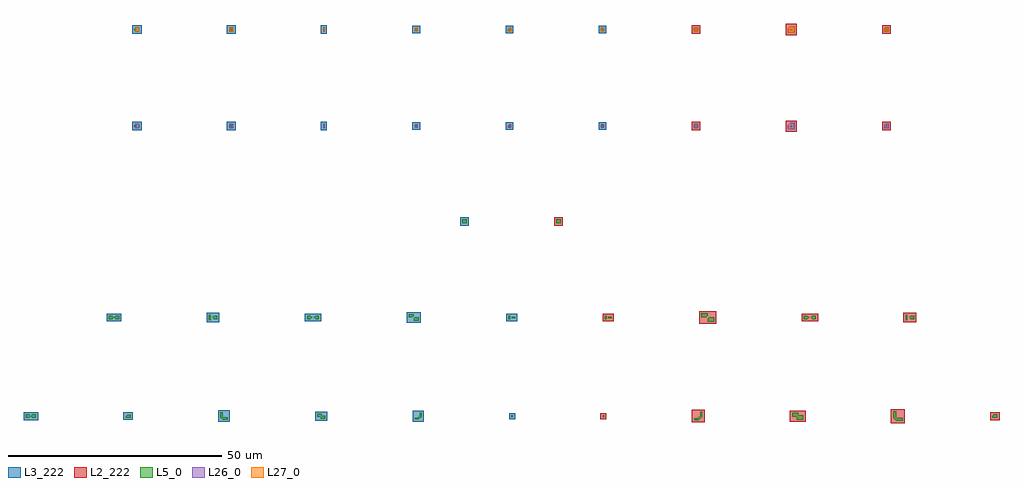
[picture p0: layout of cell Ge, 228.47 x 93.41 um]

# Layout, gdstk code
from math import pi, radians
import gdstk
lib = gdstk.Library(unit=1e-6, precision=1e-09)
def R(c, l, rs):  # rectangles x0, y0, x1, y1
    for r in rs: c.add(gdstk.rectangle(r[:2], r[2:], *l))
def P(c, l, *ps):  # polygons
    for p in ps: c.add(gdstk.Polygon(p, *l))
L2_222 = (2, 222)
L3_222 = (3, 222)
L5_0 = (5, 0)
L26_0 = (26, 0)
L27_0 = (27, 0)

compass_layerge_size0p4_ = lib.new_cell('compass_layerGE_size0p4__0p4')
R(compass_layerge_size0p4_, L5_0, [(-0.2,-0.2,0.2,0.2)])

rectangle_layerge_size0p = lib.new_cell('rectangle_layerGE_size0p4__0p4')
rectangle_layerge_size0p.add(gdstk.Reference(compass_layerge_size0p4_, (0.2,0.2)))

width_basic_width0_4_lay = lib.new_cell('width_basic_width0.4_layer_GE')
width_basic_width0_4_lay.add(gdstk.Reference(rectangle_layerge_size0p, (0,0)))

compass_abaa4390 = lib.new_cell('compass_abaa4390')
R(compass_abaa4390, L2_222, [(-0.7,-0.7,0.7,0.7)])

rectangle_abaa4390 = lib.new_cell('rectangle_abaa4390')
rectangle_abaa4390.add(gdstk.Reference(compass_abaa4390, (0.7,0.7)))

pass_fail_mk_233ae861 = lib.new_cell('pass_fail_mk_233ae861')
pass_fail_mk_233ae861.add(gdstk.Reference(rectangle_abaa4390, (-0.5,-0.5)))
pass_fail_mk_233ae861.add(gdstk.Label('GE.W.1', (-0.25,-0.25), layer=11, texttype=222))

compass_layerge_size0p39 = lib.new_cell('compass_layerGE_size0p39__0p39')
R(compass_layerge_size0p39, L5_0, [(-0.195,-0.195,0.195,0.195)])

c_rectangle_layerge_size0p = lib.new_cell('rectangle_layerGE_size0p39__0p39')
c_rectangle_layerge_size0p.add(gdstk.Reference(compass_layerge_size0p39, (0.195,0.195)))

width_basic_width0_39_la = lib.new_cell('width_basic_width0.39_layer_GE')
width_basic_width0_39_la.add(gdstk.Reference(c_rectangle_layerge_size0p, (0,0)))

compass_650bbf1b = lib.new_cell('compass_650bbf1b')
R(compass_650bbf1b, L3_222, [(-0.695,-0.695,0.695,0.695)])

rectangle_650bbf1b = lib.new_cell('rectangle_650bbf1b')
rectangle_650bbf1b.add(gdstk.Reference(compass_650bbf1b, (0.695,0.695)))

pass_fail_mk_1cde2b6c = lib.new_cell('pass_fail_mk_1cde2b6c')
pass_fail_mk_1cde2b6c.add(gdstk.Reference(rectangle_650bbf1b, (-0.5,-0.5)))
pass_fail_mk_1cde2b6c.add(gdstk.Label('GE.W.1', (-0.25,-0.25), layer=11, texttype=222))

extrude_e5152a84 = lib.new_cell('extrude_e5152a84')
P(extrude_e5152a84, L5_0, [(0,-0.25),(0,0.25),(0.896,0.25),(1.457,0.811),(1.457,1.707),(1.957,1.707),(1.957,0.604),(1.104,-0.25)])

width_45deg_width0_5_lay = lib.new_cell('width_45deg_width0.5_layer_GE')
width_45deg_width0_5_lay.add(gdstk.Reference(extrude_e5152a84, (0,0)))

compass_ff0f8aba = lib.new_cell('compass_ff0f8aba')
R(compass_ff0f8aba, L2_222, [(-1.478,-1.478,1.478,1.478)])

rectangle_ff0f8aba = lib.new_cell('rectangle_ff0f8aba')
rectangle_ff0f8aba.add(gdstk.Reference(compass_ff0f8aba, (1.478,1.478)))

pass_fail_mk_38d0dce6 = lib.new_cell('pass_fail_mk_38d0dce6')
pass_fail_mk_38d0dce6.add(gdstk.Reference(rectangle_ff0f8aba, (-0.5,-0.75)))
pass_fail_mk_38d0dce6.add(gdstk.Label('GE.W.1', (-0.25,-0.5), layer=11, texttype=222))

extrude_84ca7982 = lib.new_cell('extrude_84ca7982')
P(extrude_84ca7982, L5_0, [(0,-0.195),(0,0.195),(0.699,0.195),(1.137,0.632),(1.137,1.332),(1.527,1.332),(1.527,0.471),(0.861,-0.195)])

width_45deg_width0_39_la = lib.new_cell('width_45deg_width0.39_layer_GE')
width_45deg_width0_39_la.add(gdstk.Reference(extrude_84ca7982, (0,0)))

compass_373f1c06 = lib.new_cell('compass_373f1c06')
R(compass_373f1c06, L3_222, [(-1.264,-1.264,1.264,1.264)])

rectangle_373f1c06 = lib.new_cell('rectangle_373f1c06')
rectangle_373f1c06.add(gdstk.Reference(compass_373f1c06, (1.264,1.264)))

pass_fail_mk_971bee22 = lib.new_cell('pass_fail_mk_971bee22')
pass_fail_mk_971bee22.add(gdstk.Reference(rectangle_373f1c06, (-0.5,-0.695)))
pass_fail_mk_971bee22.add(gdstk.Label('GE.W.1', (-0.25,-0.446), layer=11, texttype=222))

boolean_fb724f76 = lib.new_cell('boolean_fb724f76')
P(boolean_fb724f76, L5_0, [(0,0),(0,0.646),(-1.146,0.646),(-1.146,1.646),(0.354,1.646),(0.354,1),(1.5,1),(1.5,0)])

width_cor2cor_width0_5_l = lib.new_cell('width_cor2cor_width0.5_layer_GE')
width_cor2cor_width0_5_l.add(gdstk.Reference(boolean_fb724f76, (0,0)))

compass_5aafb171 = lib.new_cell('compass_5aafb171')
R(compass_5aafb171, L2_222, [(-1.823,-1.323,1.823,1.323)])

rectangle_5aafb171 = lib.new_cell('rectangle_5aafb171')
rectangle_5aafb171.add(gdstk.Reference(compass_5aafb171, (1.823,1.323)))

pass_fail_mk_894c188b = lib.new_cell('pass_fail_mk_894c188b')
pass_fail_mk_894c188b.add(gdstk.Reference(rectangle_5aafb171, (-1.646,-0.5)))
pass_fail_mk_894c188b.add(gdstk.Label('GE.W.1', (-1.396,-0.25), layer=11, texttype=222))

boolean_46b64d44 = lib.new_cell('boolean_46b64d44')
P(boolean_46b64d44, L5_0, [(0,0),(0,0.452),(-0.802,0.452),(-0.802,1.153),(0.248,1.153),(0.248,0.7),(1.05,0.7),(1.05,0)])

width_cor2cor_width0_350 = lib.new_cell('width_cor2cor_width0.35000000000000003_layer_GE')
width_cor2cor_width0_350.add(gdstk.Reference(boolean_46b64d44, (0,0)))

compass_4df7383d = lib.new_cell('compass_4df7383d')
R(compass_4df7383d, L3_222, [(-1.426,-1.076,1.426,1.076)])

rectangle_4df7383d = lib.new_cell('rectangle_4df7383d')
rectangle_4df7383d.add(gdstk.Reference(compass_4df7383d, (1.426,1.076)))

pass_fail_mk_97dd24ef = lib.new_cell('pass_fail_mk_97dd24ef')
pass_fail_mk_97dd24ef.add(gdstk.Reference(rectangle_4df7383d, (-1.302,-0.5)))
pass_fail_mk_97dd24ef.add(gdstk.Label('GE.W.1', (-1.052,-0.25), layer=11, texttype=222))

boolean_c3d1b7d9 = lib.new_cell('boolean_c3d1b7d9')
P(boolean_c3d1b7d9, L5_0, [(-0.005,-0.708),(-0.708,-0.005),(-0.708,1.5),(0,1.5),(0,0),(1.5,0),(1.5,-0.708),(0,-0.708),(0,-0.708)])

width_cor_45deg_width0_5 = lib.new_cell('width_cor_45deg_width0.5_layer_GE')
width_cor_45deg_width0_5.add(gdstk.Reference(boolean_c3d1b7d9, (0,0)))

compass_24c9d74d = lib.new_cell('compass_24c9d74d')
R(compass_24c9d74d, L2_222, [(-1.604,-1.604,1.604,1.604)])

rectangle_24c9d74d = lib.new_cell('rectangle_24c9d74d')
rectangle_24c9d74d.add(gdstk.Reference(compass_24c9d74d, (1.604,1.604)))

pass_fail_mk_901aa33e = lib.new_cell('pass_fail_mk_901aa33e')
pass_fail_mk_901aa33e.add(gdstk.Reference(rectangle_24c9d74d, (-1.208,-1.208)))
pass_fail_mk_901aa33e.add(gdstk.Label('GE.W.1', (-0.958,-0.958), layer=11, texttype=222))

boolean_c17401a6 = lib.new_cell('boolean_c17401a6')
P(boolean_c17401a6, L5_0, [(0,-0.552),(0,-0.551),(-0.004,-0.551),(-0.551,-0.004),(-0.551,1.17),(0,1.17),(0,0),(1.17,0),(1.17,-0.552)])

width_cor_45deg_width0_3 = lib.new_cell('width_cor_45deg_width0.39_layer_GE')
width_cor_45deg_width0_3.add(gdstk.Reference(boolean_c17401a6, (0,0)))

compass_422bfea1 = lib.new_cell('compass_422bfea1')
R(compass_422bfea1, L3_222, [(-1.361,-1.361,1.361,1.361)])

rectangle_422bfea1 = lib.new_cell('rectangle_422bfea1')
rectangle_422bfea1.add(gdstk.Reference(compass_422bfea1, (1.361,1.361)))

pass_fail_mk_dcfc9e4e = lib.new_cell('pass_fail_mk_dcfc9e4e')
pass_fail_mk_dcfc9e4e.add(gdstk.Reference(rectangle_422bfea1, (-1.052,-1.052)))
pass_fail_mk_dcfc9e4e.add(gdstk.Label('GE.W.1', (-0.802,-0.802), layer=11, texttype=222))

boolean_9537aae0 = lib.new_cell('boolean_9537aae0')
P(boolean_9537aae0, L5_0, [(0,0),(0,0.4),(0.4,0.8),(1.2,0.8),(1.2,0)])

width_cor_45deg_width0_4 = lib.new_cell('width_cor_45deg_width0.4_layer_GE')
width_cor_45deg_width0_4.add(gdstk.Reference(boolean_9537aae0, (0,0)))

compass_cb87cfef = lib.new_cell('compass_cb87cfef')
R(compass_cb87cfef, L2_222, [(-1.1,-0.9,1.1,0.9)])

rectangle_cb87cfef = lib.new_cell('rectangle_cb87cfef')
rectangle_cb87cfef.add(gdstk.Reference(compass_cb87cfef, (1.1,0.9)))

pass_fail_mk_8b456b06 = lib.new_cell('pass_fail_mk_8b456b06')
pass_fail_mk_8b456b06.add(gdstk.Reference(rectangle_cb87cfef, (-0.5,-0.5)))
pass_fail_mk_8b456b06.add(gdstk.Label('GE.W.1', (-0.25,-0.25), layer=11, texttype=222))

boolean_08bdff1a = lib.new_cell('boolean_08bdff1a')
P(boolean_08bdff1a, L5_0, [(0,0),(0,0.39),(0.39,0.78),(1.17,0.78),(1.17,0)])

c_width_cor_45deg_width0_3 = lib.new_cell('width_cor_45deg_width0.39_layer_GE$1')
c_width_cor_45deg_width0_3.add(gdstk.Reference(boolean_08bdff1a, (0,0)))

compass_3b45272a = lib.new_cell('compass_3b45272a')
R(compass_3b45272a, L3_222, [(-1.085,-0.89,1.085,0.89)])

rectangle_3b45272a = lib.new_cell('rectangle_3b45272a')
rectangle_3b45272a.add(gdstk.Reference(compass_3b45272a, (1.085,0.89)))

pass_fail_mk_ed9fac50 = lib.new_cell('pass_fail_mk_ed9fac50')
pass_fail_mk_ed9fac50.add(gdstk.Reference(rectangle_3b45272a, (-0.5,-0.5)))
pass_fail_mk_ed9fac50.add(gdstk.Label('GE.W.1', (-0.25,-0.25), layer=11, texttype=222))

boolean_e46a8f88 = lib.new_cell('boolean_e46a8f88')
P(boolean_e46a8f88, L5_0, [(0,0),(0,0),(-0.4,0.4),(0,0.8),(0,0.8),(0.8,0.8),(0.8,0)])

width_singular_width0_4_ = lib.new_cell('width_singular_width0.4_layer_GE')
width_singular_width0_4_.add(gdstk.Reference(boolean_e46a8f88, (0,0)))
width_singular_width0_4_.add(gdstk.Reference(boolean_e46a8f88, (-0.8,0.8), rotation=pi))

compass_b6777283 = lib.new_cell('compass_b6777283')
R(compass_b6777283, L3_222, [(-1.7,-0.9,1.7,0.9)])

rectangle_b6777283 = lib.new_cell('rectangle_b6777283')
rectangle_b6777283.add(gdstk.Reference(compass_b6777283, (1.7,0.9)))

pass_fail_mk_0a5d514c = lib.new_cell('pass_fail_mk_0a5d514c')
pass_fail_mk_0a5d514c.add(gdstk.Reference(rectangle_b6777283, (-2.1,-0.5)))
pass_fail_mk_0a5d514c.add(gdstk.Label('GE.W.1', (-1.85,-0.25), layer=11, texttype=222))

width_patterns_width0_4_ = lib.new_cell('width_patterns_width0.4_layerGE')
width_patterns_width0_4_.add(gdstk.Reference(width_basic_width0_4_lay, (0,0)))
width_patterns_width0_4_.add(gdstk.Reference(pass_fail_mk_233ae861, (0,0)))
width_patterns_width0_4_.add(gdstk.Reference(width_basic_width0_39_la, (-21.39,0.005)))
width_patterns_width0_4_.add(gdstk.Reference(pass_fail_mk_1cde2b6c, (-21.39,0.005)))
width_patterns_width0_4_.add(gdstk.Reference(width_45deg_width0_5_lay, (21.399,-0.529)))
width_patterns_width0_4_.add(gdstk.Reference(pass_fail_mk_38d0dce6, (21.4,-0.528)))
width_patterns_width0_4_.add(gdstk.Reference(width_45deg_width0_39_la, (-43.917,-0.369)))
width_patterns_width0_4_.add(gdstk.Reference(pass_fail_mk_971bee22, (-43.918,-0.368)))
width_patterns_width0_4_.add(gdstk.Reference(width_cor2cor_width0_5_l, (45.502,-0.623)))
width_patterns_width0_4_.add(gdstk.Reference(pass_fail_mk_894c188b, (45.502,-0.623)))
width_patterns_width0_4_.add(gdstk.Reference(width_cor2cor_width0_350, (-65.968,-0.376)))
width_patterns_width0_4_.add(gdstk.Reference(pass_fail_mk_97dd24ef, (-65.968,-0.376)))
width_patterns_width0_4_.add(gdstk.Reference(width_cor_45deg_width0_5, (68.71,-0.196)))
width_patterns_width0_4_.add(gdstk.Reference(pass_fail_mk_901aa33e, (68.71,-0.196)))
width_patterns_width0_4_.add(gdstk.Reference(width_cor_45deg_width0_3, (-88.94,-0.109)))
width_patterns_width0_4_.add(gdstk.Reference(pass_fail_mk_dcfc9e4e, (-88.94,-0.109)))
width_patterns_width0_4_.add(gdstk.Reference(width_cor_45deg_width0_4, (91.21,-0.2)))
width_patterns_width0_4_.add(gdstk.Reference(pass_fail_mk_8b456b06, (91.21,-0.2)))
width_patterns_width0_4_.add(gdstk.Reference(c_width_cor_45deg_width0_3, (-111.662,-0.19)))
width_patterns_width0_4_.add(gdstk.Reference(pass_fail_mk_ed9fac50, (-111.662,-0.19)))
width_patterns_width0_4_.add(gdstk.Reference(width_singular_width0_4_, (-133.462,-0.2)))
width_patterns_width0_4_.add(gdstk.Reference(pass_fail_mk_0a5d514c, (-133.462,-0.2)))

c_compass_layerge_size0p4_ = lib.new_cell('compass_layerGE_size0p4__0p8')
R(c_compass_layerge_size0p4_, L5_0, [(-0.2,-0.4,0.2,0.4)])

c_rectangle_layerge_size0p_ = lib.new_cell('rectangle_layerGE_size0p4__0p8')
c_rectangle_layerge_size0p_.add(gdstk.Reference(c_compass_layerge_size0p4_, (0.2,0.4)))

compass_layerge_size0p8_ = lib.new_cell('compass_layerGE_size0p8__0p4')
R(compass_layerge_size0p8_, L5_0, [(-0.4,-0.2,0.4,0.2)])

c_rectangle_layerge_size0p__ = lib.new_cell('rectangle_layerGE_size0p8__0p4')
c_rectangle_layerge_size0p__.add(gdstk.Reference(compass_layerge_size0p8_, (0.4,0.2)))

space_basic_spacing0_4_l = lib.new_cell('space_basic_spacing0.4_layer1GE_layer2GE')
space_basic_spacing0_4_l.add(gdstk.Reference(c_rectangle_layerge_size0p_, (-0.4,0.6), rotation=pi))
space_basic_spacing0_4_l.add(gdstk.Reference(c_rectangle_layerge_size0p__, (0,0)))

compass_0661bdc1 = lib.new_cell('compass_0661bdc1')
R(compass_0661bdc1, L2_222, [(-1.3,-0.9,1.3,0.9)])

rectangle_0661bdc1 = lib.new_cell('rectangle_0661bdc1')
rectangle_0661bdc1.add(gdstk.Reference(compass_0661bdc1, (1.3,0.9)))

pass_fail_mk_46b68487 = lib.new_cell('pass_fail_mk_46b68487')
pass_fail_mk_46b68487.add(gdstk.Reference(rectangle_0661bdc1, (-1.3,-0.7)))
pass_fail_mk_46b68487.add(gdstk.Label('GE.S.1', (-1.05,-0.45), layer=11, texttype=222))

space_basic_spacing0_39_ = lib.new_cell('space_basic_spacing0.39_layer1GE_layer2GE')
space_basic_spacing0_39_.add(gdstk.Reference(c_rectangle_layerge_size0p_, (-0.39,0.6), rotation=pi))
space_basic_spacing0_39_.add(gdstk.Reference(c_rectangle_layerge_size0p__, (0,0)))

compass_d3ea01bc = lib.new_cell('compass_d3ea01bc')
R(compass_d3ea01bc, L3_222, [(-1.295,-0.9,1.295,0.9)])

rectangle_d3ea01bc = lib.new_cell('rectangle_d3ea01bc')
rectangle_d3ea01bc.add(gdstk.Reference(compass_d3ea01bc, (1.295,0.9)))

pass_fail_mk_e88df47e = lib.new_cell('pass_fail_mk_e88df47e')
pass_fail_mk_e88df47e.add(gdstk.Reference(rectangle_d3ea01bc, (-1.29,-0.7)))
pass_fail_mk_e88df47e.add(gdstk.Label('GE.S.1', (-1.04,-0.45), layer=11, texttype=222))

boolean_9f916d28 = lib.new_cell('boolean_9f916d28')
P(boolean_9f916d28, L5_0, [(0,0),(0,0.645),(0.355,1),(1.5,1),(1.5,0)])

space_45deg_spacing0_5_l = lib.new_cell('space_45deg_spacing0.5_layer1GE_layer2GE')
space_45deg_spacing0_5_l.add(gdstk.Reference(boolean_9f916d28, (0,0)))
space_45deg_spacing0_5_l.add(gdstk.Reference(boolean_9f916d28, (0,2), rotation=pi))

compass_00dc3164 = lib.new_cell('compass_00dc3164')
R(compass_00dc3164, L2_222, [(-2,-1.5,2,1.5)])

rectangle_00dc3164 = lib.new_cell('rectangle_00dc3164')
rectangle_00dc3164.add(gdstk.Reference(compass_00dc3164, (2,1.5)))

pass_fail_mk_42083cc7 = lib.new_cell('pass_fail_mk_42083cc7')
pass_fail_mk_42083cc7.add(gdstk.Reference(rectangle_00dc3164, (-2,-0.5)))
pass_fail_mk_42083cc7.add(gdstk.Label('GE.S.1', (-1.75,-0.25), layer=11, texttype=222))

boolean_9b403b2c = lib.new_cell('boolean_9b403b2c')
P(boolean_9b403b2c, L5_0, [(0,0),(0,0.503),(0.277,0.78),(1.17,0.78),(1.17,0)])

space_45deg_spacing0_39_ = lib.new_cell('space_45deg_spacing0.39_layer1GE_layer2GE')
space_45deg_spacing0_39_.add(gdstk.Reference(boolean_9b403b2c, (0,0)))
space_45deg_spacing0_39_.add(gdstk.Reference(boolean_9b403b2c, (0,1.56), rotation=pi))

compass_60910a99 = lib.new_cell('compass_60910a99')
R(compass_60910a99, L3_222, [(-1.67,-1.28,1.67,1.28)])

rectangle_60910a99 = lib.new_cell('rectangle_60910a99')
rectangle_60910a99.add(gdstk.Reference(compass_60910a99, (1.67,1.28)))

pass_fail_mk_ed316ea7 = lib.new_cell('pass_fail_mk_ed316ea7')
pass_fail_mk_ed316ea7.add(gdstk.Reference(rectangle_60910a99, (-1.67,-0.5)))
pass_fail_mk_ed316ea7.add(gdstk.Label('GE.S.1', (-1.42,-0.25), layer=11, texttype=222))

boolean_72ef2a4f = lib.new_cell('boolean_72ef2a4f')
P(boolean_72ef2a4f, L5_0, [(0,0),(0,0),(-0.4,0.4),(0,0.8),(0,0.8),(0.8,0.8),(0.8,0)])

space_cor2cor_spacing0_4 = lib.new_cell('space_cor2cor_spacing0.4_layer1GE_layer2GE')
space_cor2cor_spacing0_4.add(gdstk.Reference(boolean_e46a8f88, (0,0)))
space_cor2cor_spacing0_4.add(gdstk.Reference(boolean_72ef2a4f, (-1.2,0.8), rotation=pi))

compass_b5ef008f = lib.new_cell('compass_b5ef008f')
R(compass_b5ef008f, L2_222, [(-1.9,-0.9,1.9,0.9)])

rectangle_b5ef008f = lib.new_cell('rectangle_b5ef008f')
rectangle_b5ef008f.add(gdstk.Reference(compass_b5ef008f, (1.9,0.9)))

pass_fail_mk_fc9968ee = lib.new_cell('pass_fail_mk_fc9968ee')
pass_fail_mk_fc9968ee.add(gdstk.Reference(rectangle_b5ef008f, (-2.5,-0.5)))
pass_fail_mk_fc9968ee.add(gdstk.Label('GE.S.1', (-2.25,-0.25), layer=11, texttype=222))

space_cor2cor_spacing0_3 = lib.new_cell('space_cor2cor_spacing0.39_layer1GE_layer2GE')
space_cor2cor_spacing0_3.add(gdstk.Reference(boolean_e46a8f88, (0,0)))
space_cor2cor_spacing0_3.add(gdstk.Reference(boolean_72ef2a4f, (-1.19,0.8), rotation=pi))

compass_1faf0ee8 = lib.new_cell('compass_1faf0ee8')
R(compass_1faf0ee8, L3_222, [(-1.895,-0.9,1.895,0.9)])

rectangle_1faf0ee8 = lib.new_cell('rectangle_1faf0ee8')
rectangle_1faf0ee8.add(gdstk.Reference(compass_1faf0ee8, (1.895,0.9)))

pass_fail_mk_e8e4f772 = lib.new_cell('pass_fail_mk_e8e4f772')
pass_fail_mk_e8e4f772.add(gdstk.Reference(rectangle_1faf0ee8, (-2.49,-0.5)))
pass_fail_mk_e8e4f772.add(gdstk.Label('GE.S.1', (-2.24,-0.25), layer=11, texttype=222))

c_compass_layerge_size0p4__ = lib.new_cell('compass_layerGE_size0p4__1p2')
R(c_compass_layerge_size0p4__, L5_0, [(-0.2,-0.6,0.2,0.6)])

c_rectangle_layerge_size0p___ = lib.new_cell('rectangle_layerGE_size0p4__1p2')
c_rectangle_layerge_size0p___.add(gdstk.Reference(c_compass_layerge_size0p4__, (0.2,0.6)))

space_cor2edge_spacing0_ = lib.new_cell('space_cor2edge_spacing0.4_layer1GE_layer2GE')
space_cor2edge_spacing0_.add(gdstk.Reference(c_rectangle_layerge_size0p___, (-1.2,-0.2)))
space_cor2edge_spacing0_.add(gdstk.Reference(boolean_e46a8f88, (0,0)))

compass_ef9a3369 = lib.new_cell('compass_ef9a3369')
R(compass_ef9a3369, L2_222, [(-1.5,-1.1,1.5,1.1)])

rectangle_ef9a3369 = lib.new_cell('rectangle_ef9a3369')
rectangle_ef9a3369.add(gdstk.Reference(compass_ef9a3369, (1.5,1.1)))

pass_fail_mk_8e20f3fb = lib.new_cell('pass_fail_mk_8e20f3fb')
pass_fail_mk_8e20f3fb.add(gdstk.Reference(rectangle_ef9a3369, (-1.7,-0.7)))
pass_fail_mk_8e20f3fb.add(gdstk.Label('GE.S.1', (-1.45,-0.45), layer=11, texttype=222))

c_space_cor2edge_spacing0_ = lib.new_cell('space_cor2edge_spacing0.39_layer1GE_layer2GE')
c_space_cor2edge_spacing0_.add(gdstk.Reference(c_rectangle_layerge_size0p___, (-1.19,-0.2)))
c_space_cor2edge_spacing0_.add(gdstk.Reference(boolean_e46a8f88, (0,0)))

compass_b10f19f7 = lib.new_cell('compass_b10f19f7')
R(compass_b10f19f7, L3_222, [(-1.495,-1.1,1.495,1.1)])

rectangle_b10f19f7 = lib.new_cell('rectangle_b10f19f7')
rectangle_b10f19f7.add(gdstk.Reference(compass_b10f19f7, (1.495,1.1)))

pass_fail_mk_1487bcf8 = lib.new_cell('pass_fail_mk_1487bcf8')
pass_fail_mk_1487bcf8.add(gdstk.Reference(rectangle_b10f19f7, (-1.69,-0.7)))
pass_fail_mk_1487bcf8.add(gdstk.Label('GE.S.1', (-1.44,-0.45), layer=11, texttype=222))

space_singular_layer1ge_ = lib.new_cell('space_singular_layer1GE_layer2GE')
space_singular_layer1ge_.add(gdstk.Reference(boolean_e46a8f88, (0,0)))
space_singular_layer1ge_.add(gdstk.Reference(boolean_e46a8f88, (-0.8,0.8), rotation=pi))

pass_fail_mk_7fce521f = lib.new_cell('pass_fail_mk_7fce521f')
pass_fail_mk_7fce521f.add(gdstk.Reference(rectangle_b6777283, (-2.1,-0.5)))
pass_fail_mk_7fce521f.add(gdstk.Label('GE.S.1', (-1.85,-0.25), layer=11, texttype=222))

space_patterns_width0_4_ = lib.new_cell('space_patterns_width0.4_layer1GE_layer2GE')
space_patterns_width0_4_.add(gdstk.Reference(space_basic_spacing0_4_l, (0,0)))
space_patterns_width0_4_.add(gdstk.Reference(pass_fail_mk_46b68487, (0,0)))
space_patterns_width0_4_.add(gdstk.Reference(space_basic_spacing0_39_, (-22.6,0)))
space_patterns_width0_4_.add(gdstk.Reference(pass_fail_mk_e88df47e, (-22.6,0)))
space_patterns_width0_4_.add(gdstk.Reference(space_45deg_spacing0_5_l, (23.3,-0.8)))
space_patterns_width0_4_.add(gdstk.Reference(pass_fail_mk_42083cc7, (23.3,-0.8)))
space_patterns_width0_4_.add(gdstk.Reference(space_45deg_spacing0_39_, (-45.56,-0.58)))
space_patterns_width0_4_.add(gdstk.Reference(pass_fail_mk_ed316ea7, (-45.56,-0.58)))
space_patterns_width0_4_.add(gdstk.Reference(space_cor2cor_spacing0_4, (47.8,-0.2)))
space_patterns_width0_4_.add(gdstk.Reference(pass_fail_mk_fc9968ee, (47.8,-0.2)))
space_patterns_width0_4_.add(gdstk.Reference(space_cor2cor_spacing0_3, (-68.53,-0.2)))
space_patterns_width0_4_.add(gdstk.Reference(pass_fail_mk_e8e4f772, (-68.53,-0.2)))
space_patterns_width0_4_.add(gdstk.Reference(space_cor2edge_spacing0_, (70.8,-0.2)))
space_patterns_width0_4_.add(gdstk.Reference(pass_fail_mk_8e20f3fb, (70.8,-0.2)))
space_patterns_width0_4_.add(gdstk.Reference(c_space_cor2edge_spacing0_, (-92.32,-0.2)))
space_patterns_width0_4_.add(gdstk.Reference(pass_fail_mk_1487bcf8, (-92.32,-0.2)))
space_patterns_width0_4_.add(gdstk.Reference(space_singular_layer1ge_, (-115.31,-0.2)))
space_patterns_width0_4_.add(gdstk.Reference(pass_fail_mk_7fce521f, (-115.31,-0.2)))

compass_layerge_size1p00 = lib.new_cell('compass_layerGE_size1p005__1p005')
R(compass_layerge_size1p00, L5_0, [(-0.502,-0.502,0.502,0.502)])

rectangle_layerge_size1p = lib.new_cell('rectangle_layerGE_size1p005__1p005')
rectangle_layerge_size1p.add(gdstk.Reference(compass_layerge_size1p00, (0.502,0.502)))

area_basic_area1_01_laye = lib.new_cell('area_basic_area1.01_layerGE')
area_basic_area1_01_laye.add(gdstk.Reference(rectangle_layerge_size1p, (0,0)))

compass_880567ed = lib.new_cell('compass_880567ed')
R(compass_880567ed, L2_222, [(-1.002,-1.002,1.002,1.002)])

rectangle_880567ed = lib.new_cell('rectangle_880567ed')
rectangle_880567ed.add(gdstk.Reference(compass_880567ed, (1.002,1.002)))

pass_fail_mk_3f8f06d5 = lib.new_cell('pass_fail_mk_3f8f06d5')
pass_fail_mk_3f8f06d5.add(gdstk.Reference(rectangle_880567ed, (-0.5,-0.5)))
pass_fail_mk_3f8f06d5.add(gdstk.Label('GE.A.1', (-0.25,-0.25), layer=11, texttype=222))

compass_layerge_size0p99 = lib.new_cell('compass_layerGE_size0p999__0p999')
R(compass_layerge_size0p99, L5_0, [(-0.5,-0.5,0.5,0.5)])

c_rectangle_layerge_size0p____ = lib.new_cell('rectangle_layerGE_size0p999__0p999')
c_rectangle_layerge_size0p____.add(gdstk.Reference(compass_layerge_size0p99, (0.499,0.499)))

area_basic_area0_999_lay = lib.new_cell('area_basic_area0.999_layerGE')
area_basic_area0_999_lay.add(gdstk.Reference(c_rectangle_layerge_size0p____, (0,0)))

compass_7507b2fe = lib.new_cell('compass_7507b2fe')
R(compass_7507b2fe, L3_222, [(-1,-1,1,1)])

rectangle_7507b2fe = lib.new_cell('rectangle_7507b2fe')
rectangle_7507b2fe.add(gdstk.Reference(compass_7507b2fe, (1,1)))

pass_fail_mk_89436fce = lib.new_cell('pass_fail_mk_89436fce')
pass_fail_mk_89436fce.add(gdstk.Reference(rectangle_7507b2fe, (-0.501,-0.501)))
pass_fail_mk_89436fce.add(gdstk.Label('GE.A.1', (-0.251,-0.251), layer=11, texttype=222))

area_patterns_area1_0_la = lib.new_cell('area_patterns_area1.0_layerGE')
area_patterns_area1_0_la.add(gdstk.Reference(area_basic_area1_01_laye, (0,0)))
area_patterns_area1_0_la.add(gdstk.Reference(pass_fail_mk_3f8f06d5, (0,0)))
area_patterns_area1_0_la.add(gdstk.Reference(area_basic_area0_999_lay, (-21.998,0.003)))
area_patterns_area1_0_la.add(gdstk.Reference(pass_fail_mk_89436fce, (-21.999,0.003)))

compass_layergen_size1p0 = lib.new_cell('compass_layerGEN_size1p0__1p0')
R(compass_layergen_size1p0, L26_0, [(-0.5,-0.5,0.5,0.5)])

rectangle_layergen_size1 = lib.new_cell('rectangle_layerGEN_size1p0__1p0')
rectangle_layergen_size1.add(gdstk.Reference(compass_layergen_size1p0, (0.5,0.5)))

enclose_basic_enc0_3_wid = lib.new_cell('enclose_basic_enc0.3_width0.4_layer_GE_enc_layerGEN')
enclose_basic_enc0_3_wid.add(gdstk.Reference(rectangle_layerge_size0p, (0,0)))
enclose_basic_enc0_3_wid.add(gdstk.Reference(rectangle_layergen_size1, (-0.3,-0.3)))

compass_20d580df = lib.new_cell('compass_20d580df')
R(compass_20d580df, L2_222, [(-1,-1,1,1)])

rectangle_20d580df = lib.new_cell('rectangle_20d580df')
rectangle_20d580df.add(gdstk.Reference(compass_20d580df, (1,1)))

pass_fail_mk_fe304c9f = lib.new_cell('pass_fail_mk_fe304c9f')
pass_fail_mk_fe304c9f.add(gdstk.Reference(rectangle_20d580df, (-0.8,-0.8)))
pass_fail_mk_fe304c9f.add(gdstk.Label('GE.EN.1', (-0.55,-0.55), layer=11, texttype=222))

compass_layergen_size0p8 = lib.new_cell('compass_layerGEN_size0p8__0p8')
R(compass_layergen_size0p8, L26_0, [(-0.4,-0.4,0.4,0.4)])

rectangle_layergen_size0 = lib.new_cell('rectangle_layerGEN_size0p8__0p8')
rectangle_layergen_size0.add(gdstk.Reference(compass_layergen_size0p8, (0.4,0.4)))

enclose_basic_enc0_19999 = lib.new_cell('enclose_basic_enc0.19999999999999998_width0.4_layer_GE_enc_layerGEN')
enclose_basic_enc0_19999.add(gdstk.Reference(rectangle_layerge_size0p, (0,0)))
enclose_basic_enc0_19999.add(gdstk.Reference(rectangle_layergen_size0, (-0.2,-0.2)))

compass_e46339c4 = lib.new_cell('compass_e46339c4')
R(compass_e46339c4, L3_222, [(-0.9,-0.9,0.9,0.9)])

rectangle_e46339c4 = lib.new_cell('rectangle_e46339c4')
rectangle_e46339c4.add(gdstk.Reference(compass_e46339c4, (0.9,0.9)))

pass_fail_mk_4e16b8d1 = lib.new_cell('pass_fail_mk_4e16b8d1')
pass_fail_mk_4e16b8d1.add(gdstk.Reference(rectangle_e46339c4, (-0.7,-0.7)))
pass_fail_mk_4e16b8d1.add(gdstk.Label('GE.EN.1', (-0.45,-0.45), layer=11, texttype=222))

boolean_d471c5e5 = lib.new_cell('boolean_d471c5e5')
P(boolean_d471c5e5, L5_0, [(0,0),(0,0.259),(0.141,0.4),(0.4,0.4),(0.4,0)])

boolean_d11883be = lib.new_cell('boolean_d11883be')
P(boolean_d11883be, L26_0, [(-0.6,-0.6),(-0.6,0.412),(-0.012,1),(1,1),(1,-0.6)])

enclose_45deg_enc0_6_wid = lib.new_cell('enclose_45deg_enc0.6_width0.4_layer_GE_enc_layerGEN')
enclose_45deg_enc0_6_wid.add(gdstk.Reference(boolean_d471c5e5, (0,0)))
enclose_45deg_enc0_6_wid.add(gdstk.Reference(boolean_d11883be, (0,0)))

compass_b90d489f = lib.new_cell('compass_b90d489f')
R(compass_b90d489f, L2_222, [(-1.3,-1.3,1.3,1.3)])

rectangle_b90d489f = lib.new_cell('rectangle_b90d489f')
rectangle_b90d489f.add(gdstk.Reference(compass_b90d489f, (1.3,1.3)))

pass_fail_mk_999a6ecb = lib.new_cell('pass_fail_mk_999a6ecb')
pass_fail_mk_999a6ecb.add(gdstk.Reference(rectangle_b90d489f, (-1.1,-1.1)))
pass_fail_mk_999a6ecb.add(gdstk.Label('GE.EN.1', (-0.85,-0.85), layer=11, texttype=222))

boolean_e9c50360 = lib.new_cell('boolean_e9c50360')
P(boolean_e9c50360, L26_0, [(-0.2,-0.2),(-0.2,0.271),(0.129,0.6),(0.6,0.6),(0.6,-0.2)])

enclose_45deg_enc0_19999 = lib.new_cell('enclose_45deg_enc0.19999999999999998_width0.4_layer_GE_enc_layerGEN')
enclose_45deg_enc0_19999.add(gdstk.Reference(boolean_d471c5e5, (0,0)))
enclose_45deg_enc0_19999.add(gdstk.Reference(boolean_e9c50360, (0,0)))

pass_fail_mk_7963daef = lib.new_cell('pass_fail_mk_7963daef')
pass_fail_mk_7963daef.add(gdstk.Reference(rectangle_e46339c4, (-0.7,-0.7)))
pass_fail_mk_7963daef.add(gdstk.Label('GE.EN.1', (-0.45,-0.45), layer=11, texttype=222))

boolean_9b084751 = lib.new_cell('boolean_9b084751')
P(boolean_9b084751, L26_0, [(-0.3,-0.3),(-0.3,0.527),(-0.127,0.7),(0.7,0.7),(0.7,-0.3)])

enclose_cor2edge_enc0_3_ = lib.new_cell('enclose_cor2edge_enc0.3_width0.4_layer_GE_enc_layerGEN')
enclose_cor2edge_enc0_3_.add(gdstk.Reference(rectangle_layerge_size0p, (0,0)))
enclose_cor2edge_enc0_3_.add(gdstk.Reference(boolean_9b084751, (0,0)))

pass_fail_mk_649fa9fe = lib.new_cell('pass_fail_mk_649fa9fe')
pass_fail_mk_649fa9fe.add(gdstk.Reference(rectangle_20d580df, (-0.8,-0.8)))
pass_fail_mk_649fa9fe.add(gdstk.Label('GE.EN.1', (-0.55,-0.55), layer=11, texttype=222))

boolean_0c227648 = lib.new_cell('boolean_0c227648')
P(boolean_0c227648, L26_0, [(-0.2,-0.2),(-0.2,0.485),(-0.085,0.6),(0.6,0.6),(0.6,-0.2)])

enclose_cor2edge_enc0_19 = lib.new_cell('enclose_cor2edge_enc0.19999999999999998_width0.4_layer_GE_enc_layerGEN')
enclose_cor2edge_enc0_19.add(gdstk.Reference(rectangle_layerge_size0p, (0,0)))
enclose_cor2edge_enc0_19.add(gdstk.Reference(boolean_0c227648, (0,0)))

pass_fail_mk_3c4c30eb = lib.new_cell('pass_fail_mk_3c4c30eb')
pass_fail_mk_3c4c30eb.add(gdstk.Reference(rectangle_e46339c4, (-0.7,-0.7)))
pass_fail_mk_3c4c30eb.add(gdstk.Label('GE.EN.1', (-0.45,-0.45), layer=11, texttype=222))

compass_layergen_size0p4 = lib.new_cell('compass_layerGEN_size0p4__1p0')
R(compass_layergen_size0p4, L26_0, [(-0.2,-0.5,0.2,0.5)])

c_rectangle_layergen_size0 = lib.new_cell('rectangle_layerGEN_size0p4__1p0')
c_rectangle_layergen_size0.add(gdstk.Reference(compass_layergen_size0p4, (0.2,0.5)))

enclose_touch_enc0_3_wid = lib.new_cell('enclose_touch_enc0.3_width0.4_layer_GE_enc_layerGEN')
enclose_touch_enc0_3_wid.add(gdstk.Reference(rectangle_layerge_size0p, (0,0)))
enclose_touch_enc0_3_wid.add(gdstk.Reference(c_rectangle_layergen_size0, (0,-0.3)))

compass_e512fb8c = lib.new_cell('compass_e512fb8c')
R(compass_e512fb8c, L3_222, [(-0.7,-1,0.7,1)])

rectangle_e512fb8c = lib.new_cell('rectangle_e512fb8c')
rectangle_e512fb8c.add(gdstk.Reference(compass_e512fb8c, (0.7,1)))

pass_fail_mk_32a28039 = lib.new_cell('pass_fail_mk_32a28039')
pass_fail_mk_32a28039.add(gdstk.Reference(rectangle_e512fb8c, (-0.5,-0.8)))
pass_fail_mk_32a28039.add(gdstk.Label('GE.EN.1', (-0.25,-0.55), layer=11, texttype=222))

boolean_645972d4 = lib.new_cell('boolean_645972d4')
P(boolean_645972d4, L26_0, [(-0.3,-0.3),(-0.3,0.05),(0.05,0.05),(0.35,0.05),(0.35,0.35),(0.05,0.35),(0.05,0.05),(-0.3,0.05),(-0.3,0.7),(0.7,0.7),(0.7,-0.3)])

enclose_hole_enc0_3_widt = lib.new_cell('enclose_hole_enc0.3_width0.4_layer_GE_enc_layerGEN')
enclose_hole_enc0_3_widt.add(gdstk.Reference(rectangle_layerge_size0p, (0,0)))
enclose_hole_enc0_3_widt.add(gdstk.Reference(boolean_645972d4, (0,0)))

compass_27b5055d = lib.new_cell('compass_27b5055d')
R(compass_27b5055d, L3_222, [(-1,-1,1,1)])

rectangle_27b5055d = lib.new_cell('rectangle_27b5055d')
rectangle_27b5055d.add(gdstk.Reference(compass_27b5055d, (1,1)))

pass_fail_mk_d3f8f38d = lib.new_cell('pass_fail_mk_d3f8f38d')
pass_fail_mk_d3f8f38d.add(gdstk.Reference(rectangle_27b5055d, (-0.8,-0.8)))
pass_fail_mk_d3f8f38d.add(gdstk.Label('GE.EN.1', (-0.55,-0.55), layer=11, texttype=222))

enclose_intersect_enc0_3 = lib.new_cell('enclose_intersect_enc0.3_width0.4_layer_GE_enc_layerGEN')
enclose_intersect_enc0_3.add(gdstk.Reference(rectangle_layerge_size0p, (-0.5,0)))
enclose_intersect_enc0_3.add(gdstk.Reference(rectangle_layergen_size1, (-0.3,-0.3)))

compass_29ad2784 = lib.new_cell('compass_29ad2784')
R(compass_29ad2784, L3_222, [(-1.1,-1,1.1,1)])

rectangle_29ad2784 = lib.new_cell('rectangle_29ad2784')
rectangle_29ad2784.add(gdstk.Reference(compass_29ad2784, (1.1,1)))

pass_fail_mk_a94bd6e6 = lib.new_cell('pass_fail_mk_a94bd6e6')
pass_fail_mk_a94bd6e6.add(gdstk.Reference(rectangle_29ad2784, (-1,-0.8)))
pass_fail_mk_a94bd6e6.add(gdstk.Label('GE.EN.1', (-0.75,-0.55), layer=11, texttype=222))

enclose_patterns_enclosu = lib.new_cell('enclose_patterns_enclosure0.3_width0.4_layerGE_enc_layerGEN')
enclose_patterns_enclosu.add(gdstk.Reference(enclose_basic_enc0_3_wid, (0,0)))
enclose_patterns_enclosu.add(gdstk.Reference(pass_fail_mk_fe304c9f, (0,0)))
enclose_patterns_enclosu.add(gdstk.Reference(enclose_basic_enc0_19999, (-21.9,0)))
enclose_patterns_enclosu.add(gdstk.Reference(pass_fail_mk_4e16b8d1, (-21.9,0)))
enclose_patterns_enclosu.add(gdstk.Reference(enclose_45deg_enc0_6_wid, (22.3,0)))
enclose_patterns_enclosu.add(gdstk.Reference(pass_fail_mk_999a6ecb, (22.3,0)))
enclose_patterns_enclosu.add(gdstk.Reference(enclose_45deg_enc0_19999, (-43.7,0)))
enclose_patterns_enclosu.add(gdstk.Reference(pass_fail_mk_7963daef, (-43.7,0)))
enclose_patterns_enclosu.add(gdstk.Reference(enclose_cor2edge_enc0_3_, (44.6,0)))
enclose_patterns_enclosu.add(gdstk.Reference(pass_fail_mk_649fa9fe, (44.6,0)))
enclose_patterns_enclosu.add(gdstk.Reference(enclose_cor2edge_enc0_19, (-65.5,0)))
enclose_patterns_enclosu.add(gdstk.Reference(pass_fail_mk_3c4c30eb, (-65.5,0)))
enclose_patterns_enclosu.add(gdstk.Reference(enclose_touch_enc0_3_wid, (-87.1,0)))
enclose_patterns_enclosu.add(gdstk.Reference(pass_fail_mk_32a28039, (-87.1,0)))
enclose_patterns_enclosu.add(gdstk.Reference(enclose_hole_enc0_3_widt, (-108.8,0)))
enclose_patterns_enclosu.add(gdstk.Reference(pass_fail_mk_d3f8f38d, (-108.8,0)))
enclose_patterns_enclosu.add(gdstk.Reference(enclose_intersect_enc0_3, (-130.8,0)))
enclose_patterns_enclosu.add(gdstk.Reference(pass_fail_mk_a94bd6e6, (-130.8,0)))

compass_layergep_size1p0 = lib.new_cell('compass_layerGEP_size1p0__1p0')
R(compass_layergep_size1p0, L27_0, [(-0.5,-0.5,0.5,0.5)])

rectangle_layergep_size1 = lib.new_cell('rectangle_layerGEP_size1p0__1p0')
rectangle_layergep_size1.add(gdstk.Reference(compass_layergep_size1p0, (0.5,0.5)))

c_enclose_basic_enc0_3_wid = lib.new_cell('enclose_basic_enc0.3_width0.4_layer_GE_enc_layerGEP')
c_enclose_basic_enc0_3_wid.add(gdstk.Reference(rectangle_layerge_size0p, (0,0)))
c_enclose_basic_enc0_3_wid.add(gdstk.Reference(rectangle_layergep_size1, (-0.3,-0.3)))

pass_fail_mk_9f3779b3 = lib.new_cell('pass_fail_mk_9f3779b3')
pass_fail_mk_9f3779b3.add(gdstk.Reference(rectangle_20d580df, (-0.8,-0.8)))
pass_fail_mk_9f3779b3.add(gdstk.Label('GE.EN.2', (-0.55,-0.55), layer=11, texttype=222))

compass_layergep_size0p8 = lib.new_cell('compass_layerGEP_size0p8__0p8')
R(compass_layergep_size0p8, L27_0, [(-0.4,-0.4,0.4,0.4)])

rectangle_layergep_size0 = lib.new_cell('rectangle_layerGEP_size0p8__0p8')
rectangle_layergep_size0.add(gdstk.Reference(compass_layergep_size0p8, (0.4,0.4)))

c_enclose_basic_enc0_19999 = lib.new_cell('enclose_basic_enc0.19999999999999998_width0.4_layer_GE_enc_layerGEP')
c_enclose_basic_enc0_19999.add(gdstk.Reference(rectangle_layerge_size0p, (0,0)))
c_enclose_basic_enc0_19999.add(gdstk.Reference(rectangle_layergep_size0, (-0.2,-0.2)))

pass_fail_mk_e5922f6a = lib.new_cell('pass_fail_mk_e5922f6a')
pass_fail_mk_e5922f6a.add(gdstk.Reference(rectangle_e46339c4, (-0.7,-0.7)))
pass_fail_mk_e5922f6a.add(gdstk.Label('GE.EN.2', (-0.45,-0.45), layer=11, texttype=222))

boolean_d11b5569 = lib.new_cell('boolean_d11b5569')
P(boolean_d11b5569, L27_0, [(-0.6,-0.6),(-0.6,0.412),(-0.012,1),(1,1),(1,-0.6)])

c_enclose_45deg_enc0_6_wid = lib.new_cell('enclose_45deg_enc0.6_width0.4_layer_GE_enc_layerGEP')
c_enclose_45deg_enc0_6_wid.add(gdstk.Reference(boolean_d471c5e5, (0,0)))
c_enclose_45deg_enc0_6_wid.add(gdstk.Reference(boolean_d11b5569, (0,0)))

pass_fail_mk_b626808f = lib.new_cell('pass_fail_mk_b626808f')
pass_fail_mk_b626808f.add(gdstk.Reference(rectangle_b90d489f, (-1.1,-1.1)))
pass_fail_mk_b626808f.add(gdstk.Label('GE.EN.2', (-0.85,-0.85), layer=11, texttype=222))

boolean_4cdedd1a = lib.new_cell('boolean_4cdedd1a')
P(boolean_4cdedd1a, L27_0, [(-0.2,-0.2),(-0.2,0.271),(0.129,0.6),(0.6,0.6),(0.6,-0.2)])

c_enclose_45deg_enc0_19999 = lib.new_cell('enclose_45deg_enc0.19999999999999998_width0.4_layer_GE_enc_layerGEP')
c_enclose_45deg_enc0_19999.add(gdstk.Reference(boolean_d471c5e5, (0,0)))
c_enclose_45deg_enc0_19999.add(gdstk.Reference(boolean_4cdedd1a, (0,0)))

pass_fail_mk_4e614da6 = lib.new_cell('pass_fail_mk_4e614da6')
pass_fail_mk_4e614da6.add(gdstk.Reference(rectangle_e46339c4, (-0.7,-0.7)))
pass_fail_mk_4e614da6.add(gdstk.Label('GE.EN.2', (-0.45,-0.45), layer=11, texttype=222))

boolean_080a3eab = lib.new_cell('boolean_080a3eab')
P(boolean_080a3eab, L27_0, [(-0.3,-0.3),(-0.3,0.527),(-0.127,0.7),(0.7,0.7),(0.7,-0.3)])

c_enclose_cor2edge_enc0_3_ = lib.new_cell('enclose_cor2edge_enc0.3_width0.4_layer_GE_enc_layerGEP')
c_enclose_cor2edge_enc0_3_.add(gdstk.Reference(rectangle_layerge_size0p, (0,0)))
c_enclose_cor2edge_enc0_3_.add(gdstk.Reference(boolean_080a3eab, (0,0)))

pass_fail_mk_dcb04cf7 = lib.new_cell('pass_fail_mk_dcb04cf7')
pass_fail_mk_dcb04cf7.add(gdstk.Reference(rectangle_20d580df, (-0.8,-0.8)))
pass_fail_mk_dcb04cf7.add(gdstk.Label('GE.EN.2', (-0.55,-0.55), layer=11, texttype=222))

boolean_99831ee4 = lib.new_cell('boolean_99831ee4')
P(boolean_99831ee4, L27_0, [(-0.2,-0.2),(-0.2,0.485),(-0.085,0.6),(0.6,0.6),(0.6,-0.2)])

c_enclose_cor2edge_enc0_19 = lib.new_cell('enclose_cor2edge_enc0.19999999999999998_width0.4_layer_GE_enc_layerGEP')
c_enclose_cor2edge_enc0_19.add(gdstk.Reference(rectangle_layerge_size0p, (0,0)))
c_enclose_cor2edge_enc0_19.add(gdstk.Reference(boolean_99831ee4, (0,0)))

pass_fail_mk_8c4c4b6f = lib.new_cell('pass_fail_mk_8c4c4b6f')
pass_fail_mk_8c4c4b6f.add(gdstk.Reference(rectangle_e46339c4, (-0.7,-0.7)))
pass_fail_mk_8c4c4b6f.add(gdstk.Label('GE.EN.2', (-0.45,-0.45), layer=11, texttype=222))

compass_layergep_size0p4 = lib.new_cell('compass_layerGEP_size0p4__1p0')
R(compass_layergep_size0p4, L27_0, [(-0.2,-0.5,0.2,0.5)])

c_rectangle_layergep_size0 = lib.new_cell('rectangle_layerGEP_size0p4__1p0')
c_rectangle_layergep_size0.add(gdstk.Reference(compass_layergep_size0p4, (0.2,0.5)))

c_enclose_touch_enc0_3_wid = lib.new_cell('enclose_touch_enc0.3_width0.4_layer_GE_enc_layerGEP')
c_enclose_touch_enc0_3_wid.add(gdstk.Reference(rectangle_layerge_size0p, (0,0)))
c_enclose_touch_enc0_3_wid.add(gdstk.Reference(c_rectangle_layergep_size0, (0,-0.3)))

pass_fail_mk_09968698 = lib.new_cell('pass_fail_mk_09968698')
pass_fail_mk_09968698.add(gdstk.Reference(rectangle_e512fb8c, (-0.5,-0.8)))
pass_fail_mk_09968698.add(gdstk.Label('GE.EN.2', (-0.25,-0.55), layer=11, texttype=222))

boolean_ead32ee1 = lib.new_cell('boolean_ead32ee1')
P(boolean_ead32ee1, L27_0, [(-0.3,-0.3),(-0.3,0.05),(0.05,0.05),(0.35,0.05),(0.35,0.35),(0.05,0.35),(0.05,0.05),(-0.3,0.05),(-0.3,0.7),(0.7,0.7),(0.7,-0.3)])

c_enclose_hole_enc0_3_widt = lib.new_cell('enclose_hole_enc0.3_width0.4_layer_GE_enc_layerGEP')
c_enclose_hole_enc0_3_widt.add(gdstk.Reference(rectangle_layerge_size0p, (0,0)))
c_enclose_hole_enc0_3_widt.add(gdstk.Reference(boolean_ead32ee1, (0,0)))

pass_fail_mk_1797061f = lib.new_cell('pass_fail_mk_1797061f')
pass_fail_mk_1797061f.add(gdstk.Reference(rectangle_27b5055d, (-0.8,-0.8)))
pass_fail_mk_1797061f.add(gdstk.Label('GE.EN.2', (-0.55,-0.55), layer=11, texttype=222))

c_enclose_intersect_enc0_3 = lib.new_cell('enclose_intersect_enc0.3_width0.4_layer_GE_enc_layerGEP')
c_enclose_intersect_enc0_3.add(gdstk.Reference(rectangle_layerge_size0p, (-0.5,0)))
c_enclose_intersect_enc0_3.add(gdstk.Reference(rectangle_layergep_size1, (-0.3,-0.3)))

pass_fail_mk_f9ec2cb4 = lib.new_cell('pass_fail_mk_f9ec2cb4')
pass_fail_mk_f9ec2cb4.add(gdstk.Reference(rectangle_29ad2784, (-1,-0.8)))
pass_fail_mk_f9ec2cb4.add(gdstk.Label('GE.EN.2', (-0.75,-0.55), layer=11, texttype=222))

c_enclose_patterns_enclosu = lib.new_cell('enclose_patterns_enclosure0.3_width0.4_layerGE_enc_layerGEP')
c_enclose_patterns_enclosu.add(gdstk.Reference(c_enclose_basic_enc0_3_wid, (0,0)))
c_enclose_patterns_enclosu.add(gdstk.Reference(pass_fail_mk_9f3779b3, (0,0)))
c_enclose_patterns_enclosu.add(gdstk.Reference(c_enclose_basic_enc0_19999, (-21.9,0)))
c_enclose_patterns_enclosu.add(gdstk.Reference(pass_fail_mk_e5922f6a, (-21.9,0)))
c_enclose_patterns_enclosu.add(gdstk.Reference(c_enclose_45deg_enc0_6_wid, (22.3,0)))
c_enclose_patterns_enclosu.add(gdstk.Reference(pass_fail_mk_b626808f, (22.3,0)))
c_enclose_patterns_enclosu.add(gdstk.Reference(c_enclose_45deg_enc0_19999, (-43.7,0)))
c_enclose_patterns_enclosu.add(gdstk.Reference(pass_fail_mk_4e614da6, (-43.7,0)))
c_enclose_patterns_enclosu.add(gdstk.Reference(c_enclose_cor2edge_enc0_3_, (44.6,0)))
c_enclose_patterns_enclosu.add(gdstk.Reference(pass_fail_mk_dcb04cf7, (44.6,0)))
c_enclose_patterns_enclosu.add(gdstk.Reference(c_enclose_cor2edge_enc0_19, (-65.5,0)))
c_enclose_patterns_enclosu.add(gdstk.Reference(pass_fail_mk_8c4c4b6f, (-65.5,0)))
c_enclose_patterns_enclosu.add(gdstk.Reference(c_enclose_touch_enc0_3_wid, (-87.1,0)))
c_enclose_patterns_enclosu.add(gdstk.Reference(pass_fail_mk_09968698, (-87.1,0)))
c_enclose_patterns_enclosu.add(gdstk.Reference(c_enclose_hole_enc0_3_widt, (-108.8,0)))
c_enclose_patterns_enclosu.add(gdstk.Reference(pass_fail_mk_1797061f, (-108.8,0)))
c_enclose_patterns_enclosu.add(gdstk.Reference(c_enclose_intersect_enc0_3, (-130.8,0)))
c_enclose_patterns_enclosu.add(gdstk.Reference(pass_fail_mk_f9ec2cb4, (-130.8,0)))

c_ge = lib.new_cell('Ge')
c_ge.add(gdstk.Reference(width_patterns_width0_4_, (0,0)))
c_ge.add(gdstk.Reference(space_patterns_width0_4_, (1.329,23.104)))
c_ge.add(gdstk.Reference(area_patterns_area1_0_la, (-10.829,45.304)))
c_ge.add(gdstk.Reference(enclose_patterns_enclosu, (21.674,67.908)))
c_ge.add(gdstk.Reference(c_enclose_patterns_enclosu, (21.674,90.508)))

lib.write_gds('Ge.gds')
